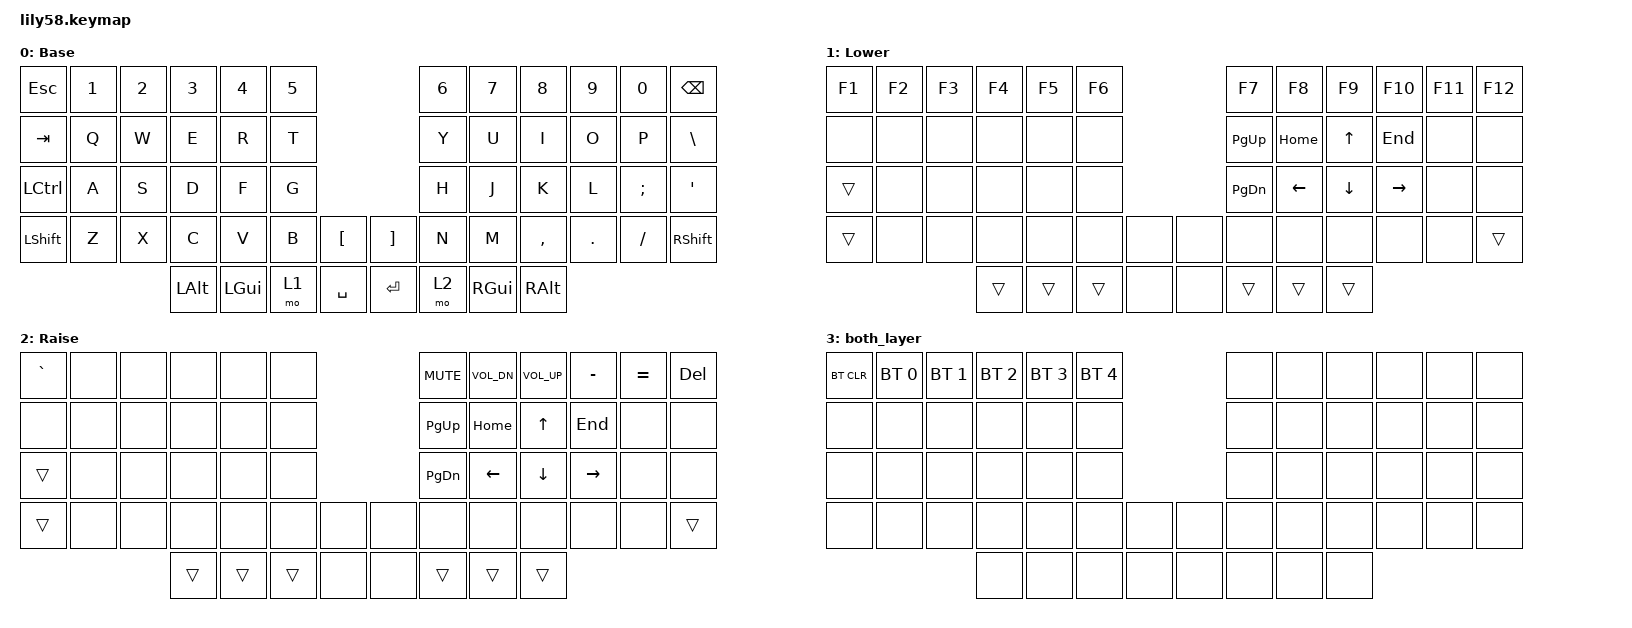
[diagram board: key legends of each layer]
/*
 * Copyright (c) 2020 The ZMK Contributors
 *
 * SPDX-License-Identifier: MIT
 */

#include <behaviors.dtsi>
#include <dt-bindings/zmk/bt.h>
#include <dt-bindings/zmk/keys.h>

/ {
    combos {
        compatible = "zmk,combos";

        COMBO_MINUS {
            bindings = <&kp MINUS>;
            key-positions = <9 10>;
            layers = <0>;
        };

        COMBO_EQUALS {
            bindings = <&kp EQUAL>;
            key-positions = <22 23>;
            layers = <0>;
        };

        COMBO_LSQUIG {
            bindings = <&kp LBRC>;
            key-positions = <29 42>;
            layers = <0>;
        };

        COMBO_RSQUIG {
            bindings = <&kp RBRC>;
            key-positions = <43 30>;
            layers = <0>;
        };

        COMBO_BTICK {
            bindings = <&kp GRAVE>;
            key-positions = <1 2>;
            layers = <0>;
        };
    };

    keymap {
        compatible = "zmk,keymap";

        default_layer {
            // ------------------------------------------------------------------------------------------------------------
            // |  ESC  |  1  |  2  |  3   |  4   |  5   |                   |  6   |  7    |  8    |  9   |   0   |   `   |
            // |  TAB  |  Q  |  W  |  E   |  R   |  T   |                   |  Y   |  U    |  I    |  O   |   P   |   -   |
            // |  CTRL |  A  |  S  |  D   |  F   |  G   |                   |  H   |  J    |  K    |  L   |   ;   |   '   |
            // | SHIFT |  Z  |  X  |  C   |  V   |  B   |   "["  |  |  "]"  |  N   |  M    |  ,    |  .   |   /   | SHIFT |
            //                     | ALT  | GUI  | LOWER|  SPACE |  | ENTER | RAISE| BSPC  | GUI   |

            display-name = "Base";
            bindings = <
&kp ESC    &kp N1  &kp N2  &kp N3    &kp N4    &kp N5                         &kp N6  &kp N7    &kp N8     &kp N9   &kp N0    &kp BSPC
&kp TAB    &kp Q   &kp W   &kp E     &kp R     &kp T                          &kp Y   &kp U     &kp I      &kp O    &kp P     &kp BACKSLASH
&kp LCTRL  &kp A   &kp S   &kp D     &kp F     &kp G                          &kp H   &kp J     &kp K      &kp L    &kp SEMI  &kp SQT
&kp LSHFT  &kp Z   &kp X   &kp C     &kp V     &kp B   &kp LBKT     &kp RBKT  &kp N   &kp M     &kp COMMA  &kp DOT  &kp FSLH  &kp RSHIFT
                           &kp LALT  &kp LGUI  &mo 1   &kp SPACE    &kp RET   &mo 2   &kp RGUI  &kp RALT
            >;
        };

        lower_layer {
            // ------------------------------------------------------------------------------------------------------------
            // | BTCLR | BT1 | BT2 |  BT3 |  BT4 |  BT5 |                   |      |       |       |      |       |       |
            // |  F1   |  F2 |  F3 |  F4  |  F5  |  F6  |                   |  F7  |  F8   |  F9   |  F10 |  F11  |  F12  |
            // |   `   |  !  |  @  |  #   |  $   |  %   |                   |  ^   |  &    |  *    |  (   |   )   |   ~   |
            // |       |     |     |      |      |      |        |  |       |      |  _    |  +    |  {   |   }   |  "|"  |
            //                     |      |      |      |        |  |       |      |       |       |

            display-name = "Lower";
            bindings = <
&kp F1  &kp F2  &kp F3  &kp F4  &kp F5  &kp F6                  &kp F7     &kp F8    &kp F9    &kp F10    &kp F11  &kp F12
&none   &none   &none   &none   &none   &none                   &kp PG_UP  &kp HOME  &kp UP    &kp END    &none    &none
&trans  &none   &none   &none   &none   &none                   &kp PG_DN  &kp LEFT  &kp DOWN  &kp RIGHT  &none    &none
&trans  &none   &none   &none   &none   &none   &none    &none  &none      &none     &none     &none      &none    &trans
                        &trans  &trans  &trans  &none    &none  &trans     &trans    &trans
            >;
        };

        raise_layer {
            // ------------------------------------------------------------------------------------------------------------
            // |       |     |     |      |      |      |                   |      |       |       |      |       |       |
            // |   `   |  1  |  2  |  3   |  4   |  5   |                   |  6   |   7   |   8   |  9   |   0   |       |
            // |   F1  |  F2 |  F3 |  F4  |  F5  |  F6  |                   |      |   <-  |   v   |  ^   |  ->   |       |
            // |   F7  |  F8 |  F9 |  F10 |  F11 |  F12 |        |  |       |  +   |   -   |   =   |  [   |   ]   |   \   |
            //                     |      |      |      |        |  |       |      |       |       |

            display-name = "Raise";
            bindings = <
&kp GRAVE  &none  &none  &none   &none   &none                   &kp C_MUTE  &kp C_VOL_DN  &kp C_VOL_UP  &kp MINUS  &kp EQUAL  &kp DEL
&none      &none  &none  &none   &none   &none                   &kp PG_UP   &kp HOME      &kp UP_ARROW  &kp END    &none      &none
&trans     &none  &none  &none   &none   &none                   &kp PG_DN   &kp LEFT      &kp DOWN      &kp RIGHT  &none      &none
&trans     &none  &none  &none   &none   &none   &none    &none  &none       &none         &none         &none      &none      &trans
                         &trans  &trans  &trans  &none    &none  &trans      &trans        &trans
            >;
        };

        both_layer {
            bindings = <
&bt BT_CLR  &bt BT_SEL 0  &bt BT_SEL 1  &bt BT_SEL 2  &bt BT_SEL 3  &bt BT_SEL 4                  &none  &none  &none  &none  &none  &none
&none       &none         &none         &none         &none         &none                         &none  &none  &none  &none  &none  &none
&none       &none         &none         &none         &none         &none                         &none  &none  &none  &none  &none  &none
&none       &none         &none         &none         &none         &none         &none    &none  &none  &none  &none  &none  &none  &none
                                        &none         &none         &none         &none    &none  &none  &none  &none
            >;
        };
    };

    conditional_layers {
        compatible = "zmk,conditional-layers";

        COND_BOTH {
            if-layers = <1 2>;
            then-layer = <3>;
        };
    };
};
